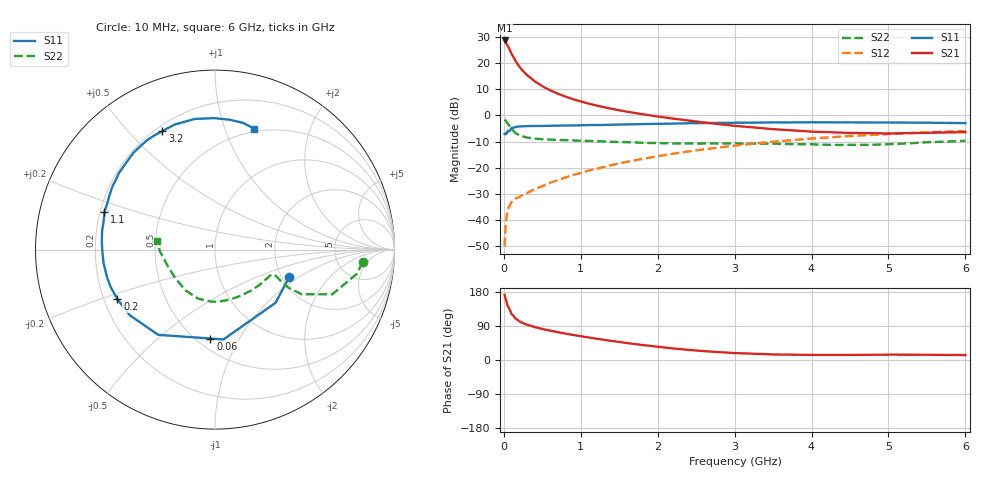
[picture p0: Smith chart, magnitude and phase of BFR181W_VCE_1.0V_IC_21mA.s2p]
! Infineon Technologies  Discrete & RF Semiconductors
! BFR181W
! VCE =  1.0 V,  IC =  21 mA
! Common Emitter S-Parameters:  Jan 2017
# GHz  S  MA  R  50
!  f  S11  S21  S12  S22
! GHz  MAG  ANG  MAG  ANG  MAG  ANG  MAG  ANG
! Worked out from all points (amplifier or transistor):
!   77 points, 10 MHz to 6 GHz, reference 50 ohm
!   highest |S21| = 28.5 dB at 10 MHz (marker M1)
!   |S21| within 3 dB of that: start of sweep to 67.74 MHz
!   unconditionally stable (mu >= 1): start of sweep to 15.5 MHz; 199.3 MHz to end of sweep
!   at 130 MHz: K = 0.74, MSG = 27.1 dB, |S12| = -32.3 dB
!   at 2.2 GHz: K = 1.39, MAG = 3.0 dB, |S12| = -14.7 dB
!   at 6 GHz: K = 1.26, MAG = -3.3 dB, |S12| = -6.0 dB
!   S11 on the Smith chart (normalised r, x): 10 MHz: 2.19, -0.83; 60 MHz: 0.58, -0.76; 200 MHz: 0.26, -0.23; 1.1 GHz: 0.22, +0.16; 3.2 GHz: 0.23, +0.63; 6 GHz: 0.47, +1.27
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0.01  0.4408 -20.3  26.67 172.2  0.0032 71.5  0.8252 -4.9
0.02  0.4493 -41.3  25.76 163.2  0.0068 78.1  0.8022 -9.7
0.03  0.4369 -56.6  24 157.1  0.0098 68.2  0.7646 -13.1
0.05  0.5027 -84.6  21.47 142.4  0.0161 59.8  0.6987 -20.9
0.06  0.496 -92.9  19.99 139.3  0.0172 57.2  0.667 -21.9
0.1  0.5706 -123.7  14.91 121.2  0.0221 49.7  0.543 -27.3
0.15  0.5991 -142.3  10.95 109.9  0.0258 46.6  0.4604 -27.4
0.2  0.6103 -153.0  8.52 102.4  0.0276 47.4  0.4167 -26.0
0.25  0.6175 -160.4  6.951 97.1  0.0309 49.6  0.3929 -24.8
0.3  0.6209 -165.7  5.848 93.1  0.0328 51.3  0.3768 -23.7
0.4  0.6256 -173.3  4.455 86.8  0.0389 56.7  0.3594 -23.1
0.5  0.6271 -178.6  3.579 81.8  0.0446 60.5  0.3498 -23.3
0.7  0.6343 173.4  2.583 73.5  0.0577 65.8  0.3388 -25.4
0.9  0.6392 166.6  2.022 66.1  0.0726 68.2  0.3314 -29.1
1.1  0.6508 161.1  1.675 59.5  0.088 70.6  0.3244 -33.3
1.5  0.6652 150.9  1.245 47.6  0.1205 71.4  0.309 -43.5
2.1  0.6901 136.8  0.906 32.8  0.1752 69.2  0.2928 -63.0
3.1  0.7209 116.0  0.612 17.6  0.2734 60.4  0.2886 -97.1
3.2  0.7224 114.0  0.595 16.9  0.2832 59.2  0.2874 -100.2
4.1  0.7346 97.1  0.483 13.4  0.3679 48.5  0.2763 -129.6
5.1  0.7266 82.6  0.453 14.1  0.4457 36.2  0.2849 -166.6
6  0.7087 72.0  0.477 12.9  0.5016 25.8  0.326 171.8
